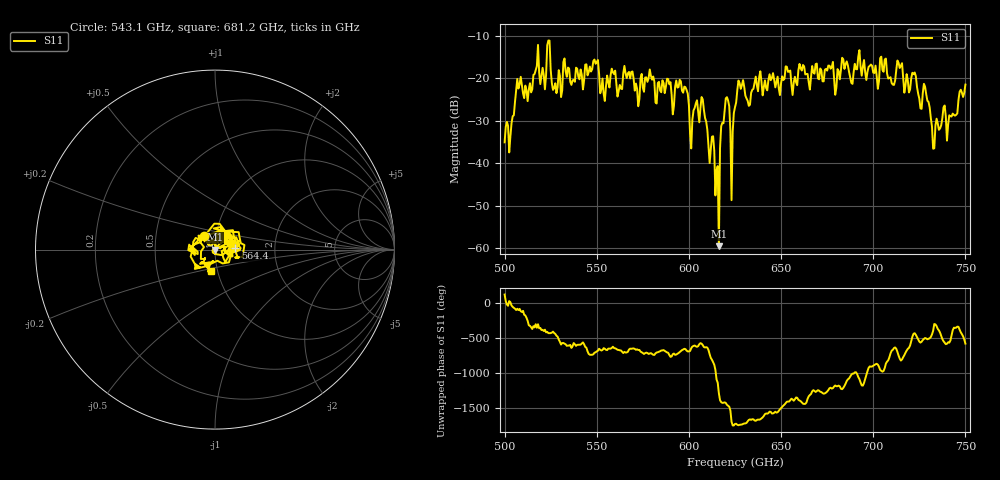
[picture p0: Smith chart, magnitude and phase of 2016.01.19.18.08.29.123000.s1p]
!Created with skrf (http://scikit-rf.org).
# GHz S RI R 50.0
!freq ReS11 ImS11
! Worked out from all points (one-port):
!   401 points, 500 GHz to 750 GHz, reference 50 ohm
!   lowest |S11| = -59.5 dB at 616.2 GHz (marker M1), VSWR 1.00, Z = 49.9 + j0.0516 ohm
!   |S11| at or under -10 dB: start of sweep to end of sweep
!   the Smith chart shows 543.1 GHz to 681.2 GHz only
!   S11 on the Smith chart (normalised r, x): 543.1 GHz: 0.88, +0.13; 564.4 GHz: 1.26, +0.02; 681.2 GHz: 0.93, -0.23
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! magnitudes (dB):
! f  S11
! 500 GHz  -35.1
! 503.8 GHz  -30.6
! 507.5 GHz  -22.4
! 513.8 GHz  -21.2
! 516.9 GHz  -18.1
! 531.2 GHz  -22.9
! 543.1 GHz  -20.5
! 549.4 GHz  -16.6
! 553.1 GHz  -20.1
! 562.5 GHz  -21.6
! 564.4 GHz  -18.9
! 593.8 GHz  -22.2
! 601.2 GHz  -36.5
! 607.5 GHz  -25.0
! 615 GHz  -41.6
! 616.2 GHz  -59.5
! 619.4 GHz  -27.7
! 623.8 GHz  -32.6
! 625 GHz  -26.8
! 628.1 GHz  -22.5
! 656.2 GHz  -23.9
! 681.2 GHz  -18.3
! 687.5 GHz  -19.8
! 714.4 GHz  -17.6
! 718.8 GHz  -20.5
! 728.8 GHz  -23.8
! 733.1 GHz  -36.5
! 750 GHz  -21.5
